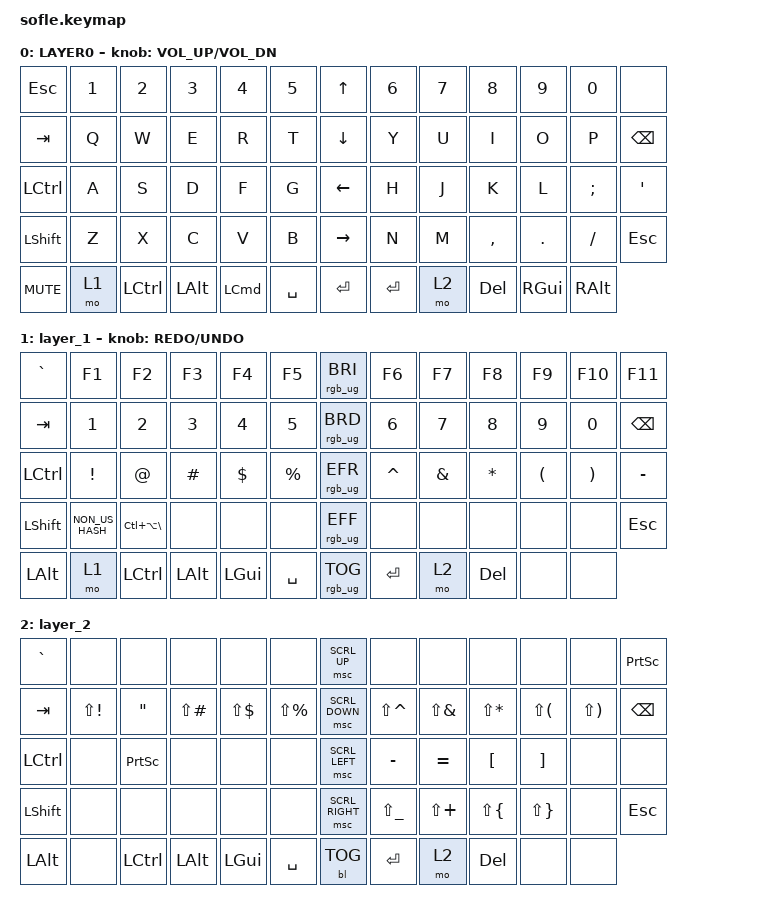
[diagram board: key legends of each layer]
#include <behaviors/mouse_keys.dtsi>
#include <dt-bindings/zmk/mouse.h>
#include <behaviors.dtsi>
#include <dt-bindings/zmk/backlight.h>
#include <dt-bindings/zmk/keys.h>
#include <dt-bindings/zmk/pointing.h>
#include <dt-bindings/zmk/rgb.h>

#define ZMK_MOUSE_DEFAULT_MOVE_VAL 1200  // 600
#define ZMK_MOUSE_DEFAULT_SCRL_VAL 20    // 10
#define U_MS_U &mmv MOVE_UP
#define U_MS_D &mmv MOVE_DOWN
#define U_MS_L &mmv MOVE_LEFT
#define U_MS_R &mmv MOVE_RIGHT
#define ZMK_MOUSE_DEFAULT_MOVE_VAL 1200  //  600
#define ZMK_MOUSE_DEFAULT_SCRL_VAL 20    // 10

/ {
    behaviors {
        mmv {
            acceleration-exponent = <1>;      // 1
            time-to-max-speed-ms = <900>;    // 40
            delay-ms = <0>;                   // 0
        };

        msc {
            acceleration-exponent = <1>;      // 0
            time-to-max-speed-ms = <400>;      // 500
            delay-ms = <0>;                   //   10
        };
    };

    scroll_encoder: scroll_encoder {
        compatible = "zmk,behavior-sensor-rotate";
        #sensor-binding-cells = <0>;
        bindings = <&msc SCRL_DOWN>, <&msc SCRL_UP>;

        tap-ms = <30>;
    };

    keymap {
        compatible = "zmk,keymap";

        layer0 {
            bindings = <
&kp ESC     &kp N1  &kp N2            &kp N3        &kp N4            &kp N5       &kp UP_ARROW     &kp N6     &kp N7  &kp N8     &kp N9         &kp N0         &none
&kp TAB     &kp Q   &kp W             &kp E         &kp R             &kp T        &kp DOWN_ARROW   &kp Y      &kp U   &kp I      &kp O          &kp P          &kp BACKSPACE
&kp LCTRL   &kp A   &kp S             &kp D         &kp F             &kp G        &kp LEFT_ARROW   &kp H      &kp J   &kp K      &kp L          &kp SEMI       &kp APOS
&kp LSHFT   &kp Z   &kp X             &kp C         &kp V             &kp B        &kp RIGHT_ARROW  &kp N      &kp M   &kp COMMA  &kp DOT        &kp FSLH       &kp ESCAPE
&kp K_MUTE  &mo 1   &kp LEFT_CONTROL  &kp LEFT_ALT  &kp LEFT_COMMAND  &kp SPACE    &kp ENTER        &kp ENTER  &mo 2   &kp DEL    &kp RIGHT_GUI  &kp RIGHT_ALT
            >;

            sensor-bindings = <&inc_dec_kp C_VOLUME_UP C_VOL_DN>;
            display-name = "LAYER0";
        };

        layer_1 {
            bindings = <
&kp GRAVE  &kp F1           &kp F2            &kp F3        &kp F4        &kp F5         &rgb_ug RGB_BRI  &kp F6     &kp F7    &kp F8        &kp F9                &kp F10                &kp F11
&kp TAB    &kp N1           &kp N2            &kp N3        &kp N4        &kp N5         &rgb_ug RGB_BRD  &kp N6     &kp N7    &kp N8        &kp N9                &kp N0                 &kp BSPC
&kp LCTRL  &kp EXCL         &kp AT_SIGN       &kp HASH      &kp DOLLAR    &kp PERCENT    &rgb_ug RGB_EFR  &kp CARET  &kp AMPS  &kp ASTERISK  &kp LEFT_PARENTHESIS  &kp RIGHT_PARENTHESIS  &kp MINUS
&kp LSHFT  &kp NON_US_HASH  &kp LC(LA(BSLH))  &none         &none         &none          &rgb_ug RGB_EFF  &none      &none     &none         &none                 &none                  &kp ESCAPE
&kp LALT   &mo 1            &kp LEFT_CONTROL  &kp LEFT_ALT  &kp LEFT_GUI  &kp SPACE      &rgb_ug RGB_TOG  &kp RET    &mo 2     &kp DEL       &none                 &none
            >;

            sensor-bindings = <&inc_dec_kp K_REDO K_UNDO>;
        };

        layer_2 {
            bindings = <
&kp GRAVE     &none         &none              &none          &none         &none            &msc SCRL_UP     &none          &none         &none         &none         &none         &kp PRINTSCREEN
&kp TAB       &kp LS(EXCL)  &kp DOUBLE_QUOTES  &kp LS(POUND)  &kp LS(DLLR)  &kp LS(PRCNT)    &msc SCRL_DOWN   &kp LS(CARET)  &kp LS(AMPS)  &kp LS(STAR)  &kp LS(LPAR)  &kp LS(RPAR)  &kp BSPC
&kp LCTRL     &none         &kp PRINTSCREEN    &none          &none         &none            &msc SCRL_LEFT   &kp MINUS      &kp EQUAL     &kp LBKT      &kp RBKT      &none         &none
&kp LSHFT     &none         &none              &none          &none         &none            &msc SCRL_RIGHT  &kp LS(UNDER)  &kp LS(PLUS)  &kp LS(LBRC)  &kp LS(RBRC)  &none         &kp ESC
&kp LEFT_ALT  &none         &kp LCTRL          &kp LEFT_ALT   &kp LEFT_GUI  &kp SPACE        &bl BL_TOG       &kp RET        &mo 2         &kp DEL       &none         &none
            >;
        };
    };
};
